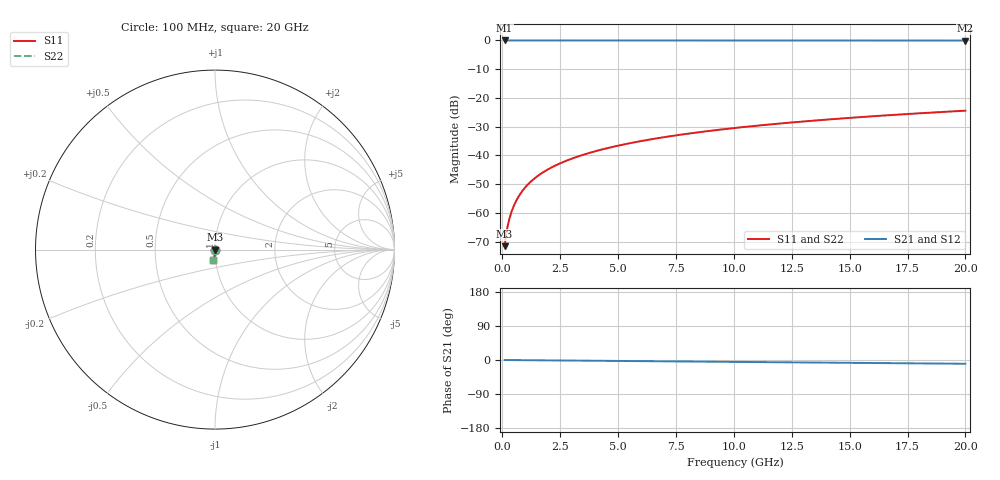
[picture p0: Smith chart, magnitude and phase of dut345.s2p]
! Touchstone file exported from HFSS 2026.1.0
!  File:  C:/ffzhzh/LocalFiles/Ansys_Project_Files/temp_train_TSV_345_1783018967_51716.aedt
!  Generated:  03:04:37 AM Jul  3, 2026
!  Design:  TSV
!  Project:  temp_train_TSV_345_1783018967_51716
! Variables:
!  h_bsmrdl = 2um
!  h_ox = 20um
!  h_rdl = 5um
!  h_sub = 98.05um
!  h_tmrdl = 5um
!  h_tsv = 98.05um
!  h_via = 3um
!  l_bsmrdl = 300um
!  l_sub = 429.44um
!  l_tmrdl = 200um
!  m_sub = 200um
!  pitch = 43.32um
!  r_tsv = 14.72um
!  s_tmrdl = 10um
!  w_bsmrdl = 18um
!  w_sub = 500um
!  w_tmrdl = 12um
!  x_tsv_center1 = 206um
!  x_tsv_center2 = 524um
!  x_tsv_center3 = 736um
!  x_tsv_center4 = 1054um
!  x_tsv_center5 = 1266um
!  x_tsv_center6 = 1584um
# GHz S MA R 50.000000
! Terminal data exported
! Port[1] = TSV1_1_T1
! Port[2] = TSV1_1_T2
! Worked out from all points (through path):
!   200 points, 100 MHz to 20 GHz, reference 50 ohm
!   highest |S21| = 0.00 dB at 100 MHz (marker M1); lowest = 0.0 dB at 20 GHz (marker M2)
!   group delay of S21, straight-line fit = 1.38 ps
!   lowest |S11| = -71.6 dB at 100 MHz (marker M3), VSWR 1.00, Z = 50 - j0.0247 ohm
!   |S11| at or under -10 dB: start of sweep to end of sweep
!   |S22| runs from -71.6 to -24.4 dB; largest |S21 - S12| = 5.6e-15
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0.1  0.0002627 -70.0  0.9999 -0.1  0.9999 -0.1  0.0002627 -70.0
! Gamma 0 0 0 0
! Port Impedance 50 0 50 0
0.2  0.0005109 -77.7  0.9999 -0.1  0.9999 -0.1  0.0005109 -77.7
0.3  0.0007729 -79.9  0.9999 -0.2  0.9999 -0.2  0.0007729 -79.9
0.4  0.001046 -81.0  0.9998 -0.2  0.9998 -0.2  0.001046 -81.0
0.5  0.001328 -81.6  0.9998 -0.3  0.9998 -0.3  0.001328 -81.6
0.7  0.001909 -82.7  0.9997 -0.4  0.9997 -0.4  0.001909 -82.7
0.8  0.002204 -83.2  0.9997 -0.4  0.9997 -0.4  0.002204 -83.2
1  0.002799 -84.1  0.9997 -0.5  0.9997 -0.5  0.002799 -84.1
1.2  0.003396 -84.8  0.9997 -0.6  0.9997 -0.6  0.003396 -84.8
1.4  0.003993 -85.5  0.9996 -0.7  0.9996 -0.7  0.003993 -85.5
1.7  0.004888 -86.2  0.9996 -0.9  0.9996 -0.9  0.004888 -86.2
2  0.005781 -86.9  0.9996 -1.0  0.9996 -1.0  0.005781 -86.9
2.7  0.007867 -87.9  0.9995 -1.4  0.9995 -1.4  0.007867 -87.9
3.5  0.01025 -88.8  0.9994 -1.8  0.9994 -1.8  0.01025 -88.8
4.2  0.01235 -89.4  0.9993 -2.1  0.9993 -2.1  0.01235 -89.4
5  0.01475 -90.0  0.9993 -2.5  0.9993 -2.5  0.01475 -90.0
6.8  0.02017 -91.3  0.999 -3.4  0.999 -3.4  0.02017 -91.3
8.3  0.0247 -92.2  0.9989 -4.1  0.9989 -4.1  0.0247 -92.2
10.1  0.03013 -93.3  0.9986 -5.0  0.9986 -5.0  0.03013 -93.3
13.4  0.04009 -95.2  0.9981 -6.7  0.9981 -6.7  0.04009 -95.2
16.7  0.05004 -97.0  0.9976 -8.3  0.9976 -8.3  0.05004 -97.0
20  0.05995 -98.7  0.9969 -9.9  0.9969 -9.9  0.05995 -98.7
